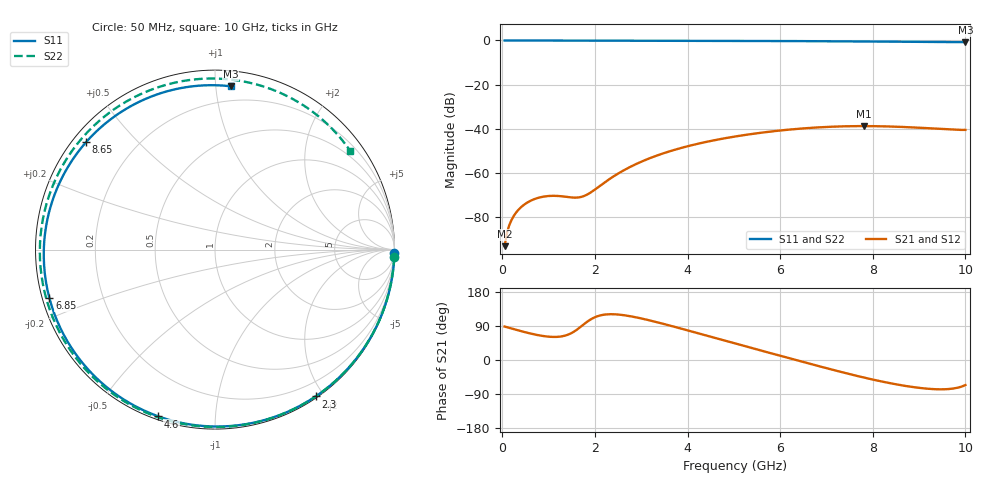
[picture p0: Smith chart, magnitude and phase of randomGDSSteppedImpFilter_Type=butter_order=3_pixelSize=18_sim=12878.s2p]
! freq	dB(S11)	phase(S11)	dB(S12)	phase(S12)
!  dB(S21)	phase(S21)	dB(S22)	phase(S22)
!S-par simulation data
#  GHz  S  DB  R 50
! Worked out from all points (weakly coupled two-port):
!   200 points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, 50 MHz to 10 GHz, reference 50 ohm
!   highest |S21| = -38.87 dB at 7.8 GHz (marker M1); lowest = -93.4 dB at 50 MHz (marker M2)
!   lowest |S11| = -0.8 dB at 10 GHz (marker M3), VSWR 22.29, Z = 4.95 + j54.7 ohm
!   |S11| at or under -10 dB: nowhere
!   |S22| runs from -0.6 to 0.0 dB; largest |S21 - S12| = 0
!   S11 on the Smith chart (normalised r, x): 50 MHz: 0, -92; 2.3 GHz: 0.02, -1.90; 4.6 GHz: 0.01, -0.72; 6.85 GHz: 0.02, -0.14; 8.65 GHz: 0.04, +0.36; 10 GHz: 0.10, +1.09
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0.05  -0.00 -1.2  -93.35 88.2  -93.35 88.2  -0.00 -2.4
0.25  -0.01 -6.2  -79.55 81.4  -79.55 81.4  -0.01 -11.7
0.35  -0.01 -8.6  -76.81 78.0  -76.81 78.0  -0.02 -16.3
0.5  -0.02 -12.3  -74.10 73.2  -74.10 73.2  -0.03 -23.1
0.8  -0.02 -19.6  -71.28 65.0  -71.28 65.0  -0.05 -36.7
1.3  -0.04 -31.7  -70.75 62.7  -70.75 62.7  -0.07 -58.3
1.6  -0.05 -38.9  -71.32 79.0  -71.32 79.0  -0.09 -70.7
1.75  -0.05 -42.5  -70.71 93.2  -70.71 93.2  -0.09 -76.6
2.3  -0.07 -55.5  -63.12 120.7  -63.12 120.7  -0.11 -97.3
2.8  -0.09 -67.2  -56.98 114.7  -56.98 114.7  -0.12 -114.7
3.4  -0.11 -81.1  -51.78 97.9  -51.78 97.9  -0.15 -133.9
4  -0.13 -94.9  -48.02 78.3  -48.02 78.3  -0.17 -151.7
4.6  -0.16 -108.7  -45.19 58.1  -45.19 58.1  -0.19 -168.7
5.05  -0.19 -119.2  -43.51 42.9  -43.51 42.9  -0.21 179.0
5.85  -0.25 -138.2  -41.21 16.2  -41.21 16.2  -0.25 157.5
6.7  -0.33 -159.7  -39.61 -11.8  -39.61 -11.8  -0.31 134.5
6.85  -0.34 -163.7  -39.42 -16.7  -39.42 -16.7  -0.32 130.4
7.8  -0.46 168.9  -38.87 -46.0  -38.87 -46.0  -0.38 103.6
8.35  -0.54 150.9  -39.04 -60.6  -39.04 -60.6  -0.42 87.4
8.65  -0.58 140.2  -39.26 -67.3  -39.26 -67.3  -0.45 78.4
9.4  -0.70 110.8  -40.07 -77.3  -40.07 -77.3  -0.53 55.2
10  -0.78 84.6  -40.59 -66.1  -40.59 -66.1  -0.61 36.2
